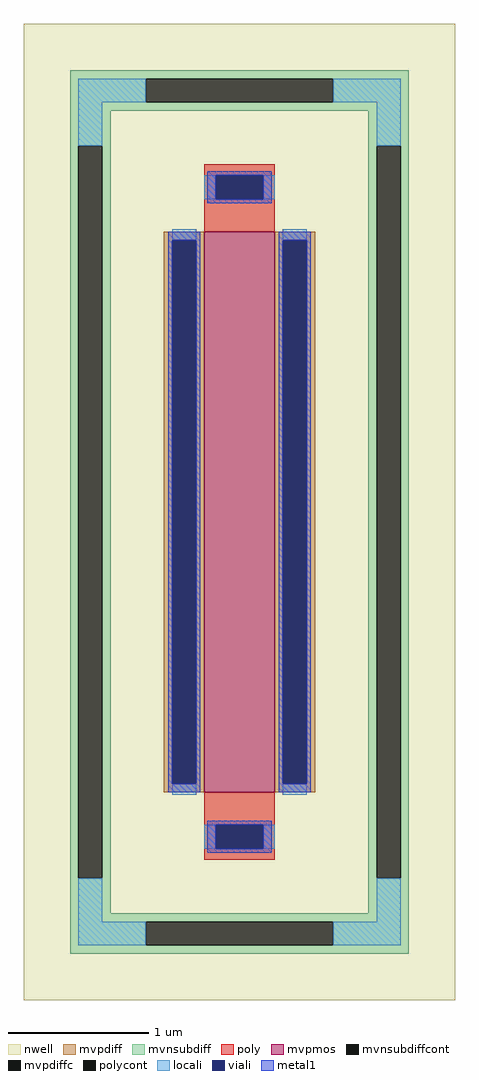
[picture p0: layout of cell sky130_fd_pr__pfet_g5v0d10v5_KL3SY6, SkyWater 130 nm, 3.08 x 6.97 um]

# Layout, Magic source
magic
tech sky130A
magscale 1 2
<< nwell >>
rect -308 -697 308 697
<< mvpmos >>
rect -50 -400 50 400
<< mvpdiff >>
rect -108 388 -50 400
rect -108 -388 -96 388
rect -62 -388 -50 388
rect -108 -400 -50 -388
rect 50 388 108 400
rect 50 -388 62 388
rect 96 -388 108 388
rect 50 -400 108 -388
<< mvpdiffc >>
rect -96 -388 -62 388
rect 62 -388 96 388
<< mvnsubdiff >>
rect -242 619 242 631
rect -242 585 -134 619
rect 134 585 242 619
rect -242 573 242 585
rect -242 523 -184 573
rect -242 -523 -230 523
rect -196 -523 -184 523
rect 184 523 242 573
rect -242 -573 -184 -523
rect 184 -523 196 523
rect 230 -523 242 523
rect 184 -573 242 -523
rect -242 -585 242 -573
rect -242 -619 -134 -585
rect 134 -619 242 -585
rect -242 -631 242 -619
<< mvnsubdiffcont >>
rect -134 585 134 619
rect -230 -523 -196 523
rect 196 -523 230 523
rect -134 -619 134 -585
<< poly >>
rect -50 481 50 497
rect -50 447 -34 481
rect 34 447 50 481
rect -50 400 50 447
rect -50 -447 50 -400
rect -50 -481 -34 -447
rect 34 -481 50 -447
rect -50 -497 50 -481
<< polycont >>
rect -34 447 34 481
rect -34 -481 34 -447
<< locali >>
rect -230 585 -134 619
rect 134 585 230 619
rect -230 523 -196 585
rect 196 523 230 585
rect -50 447 -34 481
rect 34 447 50 481
rect -96 388 -62 404
rect -96 -404 -62 -388
rect 62 388 96 404
rect 62 -404 96 -388
rect -50 -481 -34 -447
rect 34 -481 50 -447
rect -230 -585 -196 -523
rect 196 -585 230 -523
rect -230 -619 -134 -585
rect 134 -619 230 -585
<< viali >>
rect -34 447 34 481
rect -96 -388 -62 388
rect 62 -388 96 388
rect -34 -481 34 -447
<< metal1 >>
rect -46 481 46 487
rect -46 447 -34 481
rect 34 447 46 481
rect -46 441 46 447
rect -102 388 -56 400
rect -102 -388 -96 388
rect -62 -388 -56 388
rect -102 -400 -56 -388
rect 56 388 102 400
rect 56 -388 62 388
rect 96 -388 102 388
rect 56 -400 102 -388
rect -46 -447 46 -441
rect -46 -481 -34 -447
rect 34 -481 46 -447
rect -46 -487 46 -481
<< properties >>
string FIXED_BBOX -213 -602 213 602
string gencell sky130_fd_pr__pfet_g5v0d10v5
string library sky130
string parameters w 4.0 l 0.5 m 1 nf 1 diffcov 100 polycov 100 guard 1 glc 1 grc 1 gtc 1 gbc 1 tbcov 100 rlcov 100 topc 1 botc 1 poverlap 0 doverlap 1 lmin 0.50 wmin 0.42 compatible {sky130_fd_pr__pfet_01v8  sky130_fd_pr__pfet_01v8_lvt sky130_fd_pr__pfet_01v8_hvt  sky130_fd_pr__pfet_g5v0d10v5} full_metal 1 viasrc 100 viadrn 100 viagate 100 viagb 0 viagr 0 viagl 0 viagt 0
<< end >>
